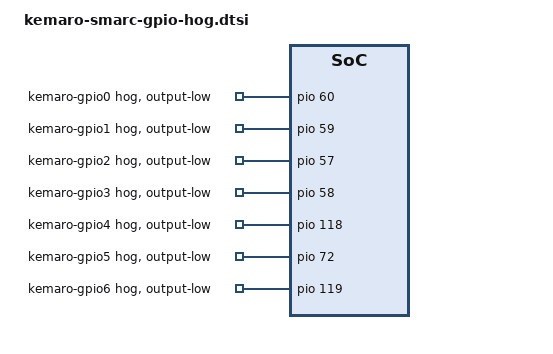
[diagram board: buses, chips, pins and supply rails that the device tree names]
/* Kemaro carrier: SMARC GPIO0..GPIO6 hogged as SoC outputs, held low at probe.
 * pio60=CAM0_PWR#(GPIO0) pio59=CAM1_PWR#(GPIO1) pio57=CAM0_RST#(GPIO2) pio58=CAM1_RST#(GPIO3)
 * pio118=HDA_RST#(GPIO4) pio72=PWM_OUT(GPIO5) pio119=TACHIN(GPIO6).
 * TACHIN is a carrier fan-tach input on the reference carrier; driving it low is
 * a config-only test artefact (confirm no fan drives the net before contention).
 * Appended to the vendor board DTS post-copy; carrier-only, not upstreamed. */
&pio {
	kemaro_gpio0 {
		gpio-hog;
		gpios = <60 GPIO_ACTIVE_HIGH>;
		output-low;
		line-name = "kemaro-gpio0";
	};
	kemaro_gpio1 {
		gpio-hog;
		gpios = <59 GPIO_ACTIVE_HIGH>;
		output-low;
		line-name = "kemaro-gpio1";
	};
	kemaro_gpio2 {
		gpio-hog;
		gpios = <57 GPIO_ACTIVE_HIGH>;
		output-low;
		line-name = "kemaro-gpio2";
	};
	kemaro_gpio3 {
		gpio-hog;
		gpios = <58 GPIO_ACTIVE_HIGH>;
		output-low;
		line-name = "kemaro-gpio3";
	};
	kemaro_gpio4 {
		gpio-hog;
		gpios = <118 GPIO_ACTIVE_HIGH>;
		output-low;
		line-name = "kemaro-gpio4";
	};
	kemaro_gpio5 {
		gpio-hog;
		gpios = <72 GPIO_ACTIVE_HIGH>;
		output-low;
		line-name = "kemaro-gpio5";
	};
	kemaro_gpio6 {
		gpio-hog;
		gpios = <119 GPIO_ACTIVE_HIGH>;
		output-low;
		line-name = "kemaro-gpio6";
	};
};
